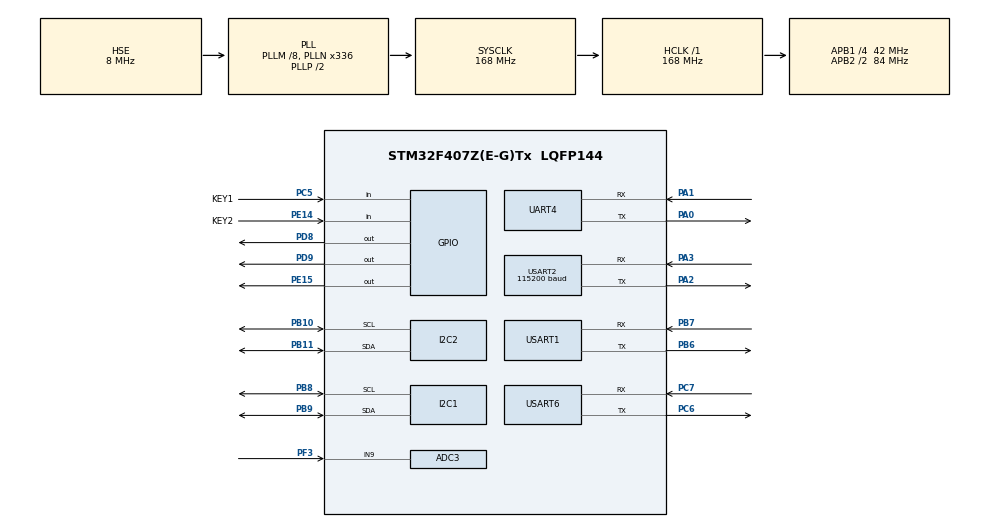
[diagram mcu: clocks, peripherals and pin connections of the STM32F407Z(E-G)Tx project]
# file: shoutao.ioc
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ADC3.Channel-0\#ChannelRegularConversion=ADC_CHANNEL_9
ADC3.NbrOfConversionFlag=1
ADC3.Rank-0\#ChannelRegularConversion=1
ADC3.SamplingTime-0\#ChannelRegularConversion=ADC_SAMPLETIME_3CYCLES
Dma.Request0=USART6_TX
Dma.Request1=USART6_RX
Dma.USART6_RX.1.Direction=DMA_PERIPH_TO_MEMORY
Dma.USART6_RX.1.FIFOMode=DMA_FIFOMODE_DISABLE
Dma.USART6_RX.1.Instance=DMA2_Stream1
Dma.USART6_RX.1.MemDataAlignment=DMA_MDATAALIGN_BYTE
Dma.USART6_RX.1.MemInc=DMA_MINC_ENABLE
Dma.USART6_RX.1.Mode=DMA_NORMAL
Dma.USART6_RX.1.PeriphDataAlignment=DMA_PDATAALIGN_BYTE
Dma.USART6_RX.1.PeriphInc=DMA_PINC_DISABLE
Dma.USART6_RX.1.Priority=DMA_PRIORITY_LOW
Dma.USART6_TX.0.Direction=DMA_MEMORY_TO_PERIPH
Dma.USART6_TX.0.FIFOMode=DMA_FIFOMODE_DISABLE
Dma.USART6_TX.0.Instance=DMA2_Stream6
Dma.USART6_TX.0.MemDataAlignment=DMA_MDATAALIGN_BYTE
Dma.USART6_TX.0.MemInc=DMA_MINC_ENABLE
Dma.USART6_TX.0.Mode=DMA_NORMAL
Dma.USART6_TX.0.PeriphDataAlignment=DMA_PDATAALIGN_BYTE
Dma.USART6_TX.0.PeriphInc=DMA_PINC_DISABLE
Dma.USART6_TX.0.Priority=DMA_PRIORITY_LOW
Mcu.Family=STM32F4
Mcu.Name=STM32F407Z(E-G)Tx
Mcu.Package=LQFP144
NVIC.DMA2_Stream1_IRQn=true\:0\:0\:false\:false\:true\:false\:true\:true
NVIC.DMA2_Stream6_IRQn=true\:0\:0\:false\:false\:true\:false\:true\:true
NVIC.PriorityGroup=NVIC_PRIORITYGROUP_4
NVIC.TIM6_DAC_IRQn=true\:0\:0\:false\:false\:true\:true\:true\:true
NVIC.USART1_IRQn=true\:1\:0\:true\:false\:true\:true\:true\:true
NVIC.USART2_IRQn=true\:3\:0\:true\:false\:true\:true\:true\:true
NVIC.USART6_IRQn=true\:1\:0\:true\:false\:true\:true\:true\:true
PA0-WKUP.Mode=Asynchronous
PA0-WKUP.Signal=UART4_TX
PA1.Mode=Asynchronous
PA1.Signal=UART4_RX
PA13.Mode=Serial_Wire
PA13.Signal=SYS_JTMS-SWDIO
PA14.Mode=Serial_Wire
PA14.Signal=SYS_JTCK-SWCLK
PA2.Mode=Asynchronous
PA2.Signal=USART2_TX
PA3.Mode=Asynchronous
PA3.Signal=USART2_RX
PA8.Signal=I2C3_SCL
PB10.Mode=I2C
PB10.Signal=I2C2_SCL
PB11.Mode=I2C
PB11.Signal=I2C2_SDA
PB6.Mode=Asynchronous
PB6.Signal=USART1_TX
PB7.Mode=Asynchronous
PB7.Signal=USART1_RX
PB8.Mode=I2C
PB8.Signal=I2C1_SCL
PB9.Mode=I2C
PB9.Signal=I2C1_SDA
PC14-OSC32_IN.Mode=LSE-External-Oscillator
PC14-OSC32_IN.Signal=RCC_OSC32_IN
PC15-OSC32_OUT.Mode=LSE-External-Oscillator
PC15-OSC32_OUT.Signal=RCC_OSC32_OUT
PC5.GPIO_Label=KEY1
PC5.GPIO_PuPd=GPIO_PULLUP
PC5.Signal=GPIO_Input
PC6.Mode=Asynchronous
PC6.Signal=USART6_TX
PC7.Mode=Asynchronous
PC7.Signal=USART6_RX
PC9.Signal=I2C3_SDA
PD8.Signal=GPIO_Output
PD9.Signal=GPIO_Output
PE14.GPIO_Label=KEY2
PE14.GPIO_PuPd=GPIO_PULLUP
PE14.Signal=GPIO_Input
PE15.GPIO_PuPd=GPIO_NOPULL
PE15.Signal=GPIO_Output
PF3.Mode=IN9
PF3.Signal=ADC3_IN9
PH0-OSC_IN.Mode=HSE-External-Oscillator
PH0-OSC_IN.Signal=RCC_OSC_IN
PH1-OSC_OUT.Mode=HSE-External-Oscillator
PH1-OSC_OUT.Signal=RCC_OSC_OUT
ProjectManager.HeapSize=0x200
ProjectManager.StackSize=0x400
ProjectManager.TargetToolchain=MDK-ARM V5.32
RCC.48MHZClocksFreq_Value=84000000
RCC.AHBFreq_Value=168000000
RCC.APB1CLKDivider=RCC_HCLK_DIV4
RCC.APB1Freq_Value=42000000
RCC.APB1TimFreq_Value=84000000
RCC.APB2CLKDivider=RCC_HCLK_DIV2
RCC.APB2Freq_Value=84000000
RCC.APB2TimFreq_Value=168000000
RCC.CortexFreq_Value=168000000
RCC.HCLKFreq_Value=168000000
RCC.HSE_VALUE=8000000
RCC.HSI_VALUE=16000000
RCC.PLLM=8
RCC.PLLN=336
RCC.PLLSourceVirtual=RCC_PLLSOURCE_HSE
RCC.SYSCLKFreq_VALUE=168000000
RCC.SYSCLKSource=RCC_SYSCLKSOURCE_PLLCLK
RCC.VCOOutputFreq_Value=336000000
TIM6.Period=999
TIM6.Prescaler=83
UART4.VirtualMode=Asynchronous
USART1.VirtualMode=VM_ASYNC
USART2.BaudRate=115200
USART2.VirtualMode=VM_ASYNC
USART6.VirtualMode=VM_ASYNC
VP_TIM6_VS_ClockSourceINT.Mode=Enable_Timer
board=custom

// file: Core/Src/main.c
/* USER CODE BEGIN Header */
/**
 ******************************************************************************
 * @file           : main.c
 * @brief          : Main program body
 ******************************************************************************
 * @attention
 *
 * Copyright (c) 2025 STMicroelectronics.
 * All rights reserved.
 *
 * This software is licensed under terms that can be found in the LICENSE file
 * in the root directory of this software component.
 * If no LICENSE file comes with this software, it is provided AS-IS.
 *
 ******************************************************************************
 */
/* USER CODE END Header */
#include "main.h"
#include "adc.h"
#include "dma.h"
#include "gpio.h"
#include "i2c.h"
#include "tim.h"
#include "usart.h"

/* USER CODE BEGIN Includes */
#include "headfile.h"
/* USER CODE END Includes */

/* USER CODE BEGIN PV */
const uint8_t poll_channels[] = {0, 1, 2, 3}; // 通道0-3（通道4硬件故障已禁用）
#define CHANNEL_COUNT                                                          \
  (sizeof(poll_channels) / sizeof(poll_channels[0])) // 通道数量（4个）
int change_flag = 0;
uint8_t channel_cnt, control_cnt = 0;
int cnt1 = 0, cnt2 = 0;
uint8_t mode_zhang = 0;
int forward = 0, back = 0;

int allow_send_flag = 1;
/* USER CODE END PV */

void SystemClock_Config(void);

int main(void) {

  /* MCU Configuration--------------------------------------------------------*/

  /* Reset of all peripherals, Initializes the Flash interface and the Systick.
   */
  HAL_Init();

  /* Configure the system clock */
  SystemClock_Config();

  /* Initialize all configured peripherals */
  MX_GPIO_Init();
  MX_DMA_Init();
  MX_ADC3_Init();
  MX_I2C1_Init();
  MX_UART4_Init();
  MX_USART1_UART_Init();
  MX_USART2_UART_Init();
  MX_USART6_UART_Init();
  MX_TIM6_Init();
  MX_I2C2_Init();
  /* USER CODE BEGIN 2 */
  HAL_TIM_Base_Start_IT(&htim6); // 定时器初始化
  //	HAL_UART_Receive_IT(&huart6, &uart6_data,1);		//调试串口初始化
  HAL_UART_Receive_IT(&huart1, &uart6_data, 1); // RS485初始化
  HAL_UART_Receive_IT(&huart2, &uart2_data, 1); // 陀螺仪串口初始化
  JY901S_Init();
  MPU6050_Init(&hi2c2);
  TCA9548A_init();
  TCA9548A_SetChannel(0); // 设置初始通道

  for (uint8_t i = 0; i < CHANNEL_COUNT; i++) // 初始化所有通道的 MPU6050
  {
    TCA9548A_SetChannel(poll_channels[i]); // 切换到当前通道
    HAL_Delay(10);                         // 等待通道切换稳定
    MPU6050_Init(&hi2c2);                  // 初始化当前通道的 MPU6050
    HAL_Delay(100);                        // 给传感器初始化留时间
  }
  /* USER CODE END 2 */

  /* Infinite loop */
  /* USER CODE BEGIN WHILE */
  static uint32_t debug_print_cnt = 0; // 调试打印计数器，控制打印频率
  channel_cnt = 0;
  while (1) {
    key_read();

    if (channel_cnt > 3) // 通道计数器若超出范围，则需要清零
    {
      channel_cnt = 0;
    }
    MPU6050_PollChannels(poll_channels, CHANNEL_COUNT, 500, channel_cnt);
    // Gesture_Control_pro();	// 测试阶段暂停手势模式识别
    //    Gesture_Move();       // 挥手方向识别（角速度状态机）

    // 统一手势识别：每 0.2s 采样一次，方向手势发出对应命令，其余发 0x00
    // HAL_UART_Transmit 已在 Gesture_Run 内部调用（每 0.2s 一次）
#if !GLOVE_MIGRATION_PROTOCOL_ENABLE
    /*
     * 旧版逻辑：
     * STM32 本地完成手势识别，再通过 huart6 发送 1 字节控制命令。
     */
    Gesture_Test();
#endif

    // 格式：f0x,f0y,f1x,f1y,f2x,f2y,f3x,f3y,roll,pitch
//            printf("%.2f,%.2f,%.2f,%.2f,%.2f,%.2f,%.2f,%.2f,%.2f,%.2f\r\n",
//                  mpu_data[0].filter_angle_x, mpu_data[0].filter_angle_y,
//                  mpu_data[1].filter_angle_x, mpu_data[1].filter_angle_y,
//									mpu_data[2].filter_angle_x,
//									mpu_data[2].filter_angle_y,
//                  mpu_data[3].filter_angle_x, mpu_data[3].filter_angle_y,
//                  jy901s_data.angle_roll, jy901s_data.angle_pitch);

    /* ---- 挥手数据采集模式（采集时取消注释，正常运行时注释掉）----
     * 配合 tools/collect_swipe.py 使用
     * 格式：roll,pitch,gyro_z,gyro_y */
    //        printf("%.2f,%.2f,%.2f,%.2f\r\n",
    //               jy901s_data.angle_roll,  jy901s_data.angle_pitch,
    //               jy901s_data.gyro_z,     jy901s_data.gyro_y);

    // ---- 命令发送：通过 huart6 发送 current_cmd（1字节）----
    // Gesture_Test() 每 0.2s 更新 current_cmd，此处立即发出

    // ---- mode1/2/3 旧逻辑（按键触发模式，保留不变）----
//    if (trans_flag == 1 && mode1_flag == 1) // 定时发送
//    {
//      control_cnt++;
//      if (control_cnt > 3) {
//        current_cmd = CMD_ANJIAN_SHIJUE;
//        control_cnt = 0;
//      }
//    } else if (trans_flag == 1 && mode2_flag == 1) // 定时发送
//    {
//      control_cnt++;
//      if (control_cnt > 3) {
//        current_cmd = CMD_KAIGUAN_SHIJUE;
//        control_cnt = 0;
//      }
//    } else if (trans_flag == 1 && mode3_flag == 1) // 定时发送
//    {
//      control_cnt++;
//      if (control_cnt > 3) {
//        current_cmd = CMD_ANJIAN_DONGZUO;
//        control_cnt = 0;
//      }
//    }

#if GLOVE_MIGRATION_PROTOCOL_ENABLE
    if (trans_flag == 1) {
      trans_flag = 0;

      /*
       * 迁移模式：
       * STM32 只负责前端采集与特征发送。
       * 每到发送节拍就通过 huart6 向 RA6M5 发出一帧 10 维固定特征数据。
       */
      (void)GloveFrame_SendFeatureFrame();
    }
#else
    if (trans_flag == 1) {
      trans_flag = 0;

      static uint8_t history_cmd = 0x00;
      static uint8_t cmd_confirm_cnt = 0;

      if (current_cmd != 0x02) {
          if (current_cmd == history_cmd) {
              cmd_confirm_cnt++;
              if (cmd_confirm_cnt >= 2) {
                  HAL_UART_Transmit(&huart6, &current_cmd, sizeof(current_cmd), 0xFFFF);
                  // 发送后可以保持上限或者清零，看需求，为了持续发送动作我们不清理，或者给个上限防止溢出
                  if (cmd_confirm_cnt > 100) cmd_confirm_cnt = 2;
              }
          } else {
              history_cmd = current_cmd;
              cmd_confirm_cnt = 1; // 新动作出现第1次
          }
      } else {
          // 当前为 0x00(无动作或识别中)，清理历史
          history_cmd = 0x00;
          cmd_confirm_cnt = 0;
      }
    }
#endif

    // 通道计数器递增，自动循环
    channel_cnt++;

    /* USER CODE END WHILE */

  }
}

void SystemClock_Config(void) {
  RCC_OscInitTypeDef RCC_OscInitStruct = {0};
  RCC_ClkInitTypeDef RCC_ClkInitStruct = {0};

  /** Configure the main internal regulator output voltage
   */
  __HAL_RCC_PWR_CLK_ENABLE();
  __HAL_PWR_VOLTAGESCALING_CONFIG(PWR_REGULATOR_VOLTAGE_SCALE1);

  /** Initializes the RCC Oscillators according to the specified parameters
   * in the RCC_OscInitTypeDef structure.
   */
  RCC_OscInitStruct.OscillatorType = RCC_OSCILLATORTYPE_HSE;
  RCC_OscInitStruct.HSEState = RCC_HSE_ON;
  RCC_OscInitStruct.PLL.PLLState = RCC_PLL_ON;
  RCC_OscInitStruct.PLL.PLLSource = RCC_PLLSOURCE_HSE;
  RCC_OscInitStruct.PLL.PLLM = 8;
  RCC_OscInitStruct.PLL.PLLN = 336;
  RCC_OscInitStruct.PLL.PLLP = RCC_PLLP_DIV2;
  RCC_OscInitStruct.PLL.PLLQ = 4;
  if (HAL_RCC_OscConfig(&RCC_OscInitStruct) != HAL_OK) {
    Error_Handler();
  }

  /** Initializes the CPU, AHB and APB buses clocks
   */
  RCC_ClkInitStruct.ClockType = RCC_CLOCKTYPE_HCLK | RCC_CLOCKTYPE_SYSCLK |
                                RCC_CLOCKTYPE_PCLK1 | RCC_CLOCKTYPE_PCLK2;
  RCC_ClkInitStruct.SYSCLKSource = RCC_SYSCLKSOURCE_PLLCLK;
  RCC_ClkInitStruct.AHBCLKDivider = RCC_SYSCLK_DIV1;
  RCC_ClkInitStruct.APB1CLKDivider = RCC_HCLK_DIV4;
  RCC_ClkInitStruct.APB2CLKDivider = RCC_HCLK_DIV2;

  if (HAL_RCC_ClockConfig(&RCC_ClkInitStruct, FLASH_LATENCY_5) != HAL_OK) {
    Error_Handler();
  }
}

void Error_Handler(void) {
  __disable_irq();
  while (1) {
  }
}

#ifdef USE_FULL_ASSERT
/**
 * @brief  Reports the name of the source file and the source line number
 *         where the assert_param error has occurred.
 * @param  file: pointer to the source file name
 * @param  line: assert_param error line source number
 * @retval None
 */
void assert_failed(uint8_t *file, uint32_t line) {
  /* USER CODE BEGIN 6 */
  /* User can add his own implementation to report the file name and line
     number, ex: printf("Wrong parameters value: file %s on line %d\r\n", file,
     line) */
  /* USER CODE END 6 */
}
#endif /* USE_FULL_ASSERT */
